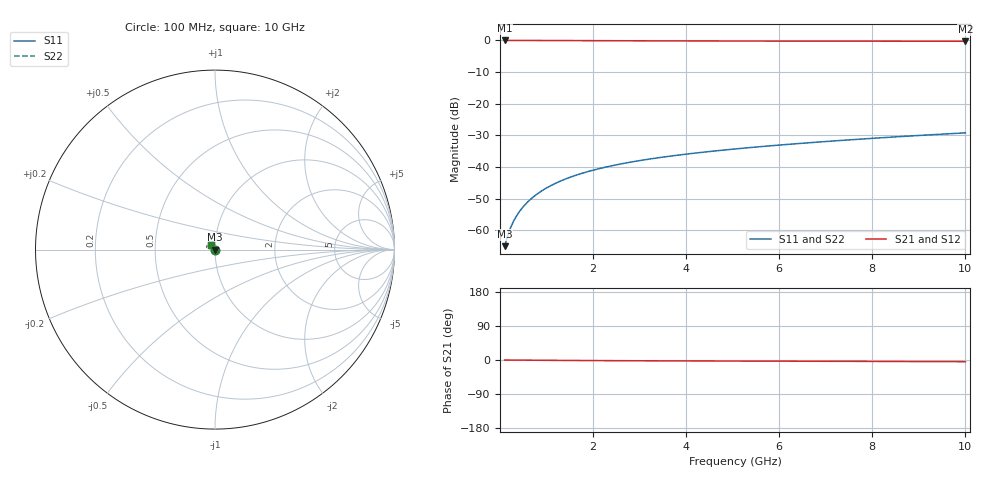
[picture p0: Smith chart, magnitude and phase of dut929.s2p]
! Touchstone file exported from HFSS 2024.1.0
!  File:  C:/UserFiles/LocalFiles/RDL_TSV_Batchsim/temp_TSV1_929_1779946931.aedt
!  Generated:  01:48:15 PM May 28, 2026
!  Design:  TSV1
!  Project:  temp_TSV1_929_1779946931
!  Setup:  Setup1
!  Solution:  Sweep
! Variables:
!  dtsv = 6.15um
!  hbump = 3um
!  htsv = 59.44um
!  lrdl = 252.1521522um
!  p = 40
!  p1 = 57.79um
!  t = 500um
!  trdl = 3um
!  wrdl = 24.89489489um
# GHz S MA R 50.000000
! Terminal data exported
! Port[1] = TSV22_T1
! Port[2] = TSV22_T2
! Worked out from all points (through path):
!   100 points, 100 MHz to 10 GHz, reference 50 ohm
!   highest |S21| = 0.00 dB at 100 MHz (marker M1); lowest = -0.3 dB at 10 GHz (marker M2)
!   lowest |S11| = -65.0 dB at 100 MHz (marker M3), VSWR 1.00, Z = 50 - j0.0483 ohm
!   |S11| at or under -10 dB: start of sweep to end of sweep
!   |S22| runs from -65.0 to -29.2 dB; largest |S21 - S12| = 1.8e-16
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0.1  0.0005629 -59.0  0.9997 -0.1  0.9997 -0.1  0.0005629 -59.0
! Gamma 0 0 0 0
! Port Impedance 50 0 50 0
0.2  0.000987 -77.3  0.9996 -0.2  0.9996 -0.2  0.000987 -77.3
0.3  0.00144 -86.0  0.9995 -0.3  0.9995 -0.3  0.00144 -86.0
0.4  0.001902 -91.9  0.9993 -0.3  0.9993 -0.3  0.001902 -91.9
0.5  0.002368 -96.5  0.9991 -0.4  0.9991 -0.4  0.002368 -96.5
0.6  0.002834 -100.5  0.9988 -0.5  0.9988 -0.5  0.002834 -100.5
0.7  0.003298 -104.0  0.9985 -0.6  0.9985 -0.6  0.003298 -104.0
0.8  0.00376 -107.3  0.9982 -0.7  0.9982 -0.7  0.00376 -107.3
0.9  0.004219 -110.4  0.9978 -0.8  0.9978 -0.8  0.004219 -110.4
1.1  0.005124 -116.2  0.997 -0.9  0.997 -0.9  0.005124 -116.2
1.4  0.006442 -124.3  0.9956 -1.1  0.9956 -1.1  0.006442 -124.3
1.6  0.007293 -129.3  0.9946 -1.3  0.9946 -1.3  0.007293 -129.3
1.8  0.008121 -134.2  0.9936 -1.4  0.9936 -1.4  0.008121 -134.2
2.1  0.009319 -141.0  0.9919 -1.6  0.9919 -1.6  0.009319 -141.0
2.5  0.01084 -149.5  0.9898 -1.8  0.9898 -1.8  0.01084 -149.5
2.9  0.01229 -157.3  0.9877 -2.0  0.9877 -2.0  0.01229 -157.3
3.4  0.01402 -166.1  0.9853 -2.2  0.9853 -2.2  0.01402 -166.1
4.2  0.01664 -178.3  0.982 -2.5  0.982 -2.5  0.01664 -178.3
5.1  0.01947 170.5  0.9791 -2.8  0.9791 -2.8  0.01946 170.5
6.7  0.02439 155.1  0.9754 -3.3  0.9754 -3.3  0.02439 155.1
8.4  0.02965 143.3  0.9728 -3.9  0.9728 -3.9  0.02965 143.3
10  0.0347 135.0  0.9711 -4.4  0.9711 -4.4  0.0347 135.0
